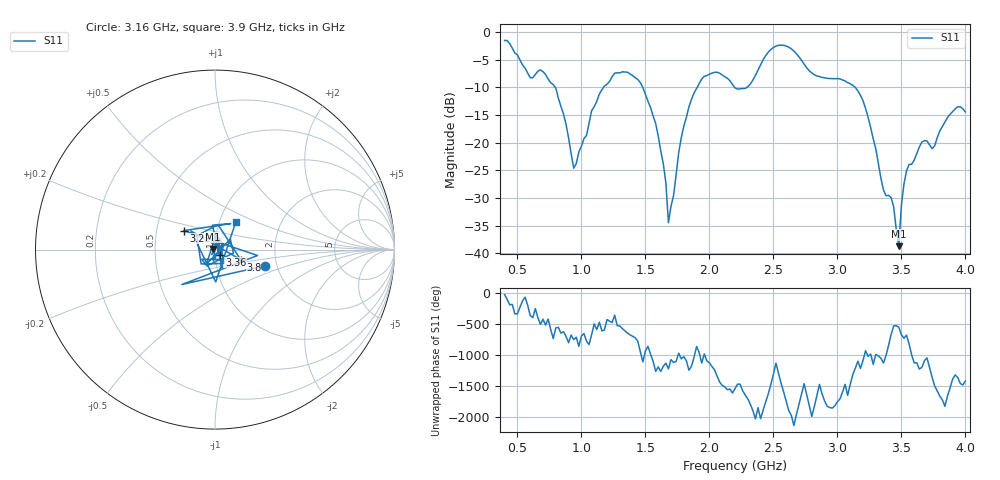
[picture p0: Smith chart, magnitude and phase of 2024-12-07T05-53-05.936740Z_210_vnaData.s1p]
!Created with skrf (http://scikit-rf.org).
# Hz S RI R 50.0
!freq ReS11 ImS11
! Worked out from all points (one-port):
!   181 points, 400 MHz to 4 GHz, reference 50 ohm
!   lowest |S11| = -38.7 dB at 3.48 GHz (marker M1), VSWR 1.02, Z = 48.9 + j0.31 ohm
!   |S11| at or under -10 dB: 795.8 MHz to 1.173 GHz (377.1 MHz wide, 38.3 % of centre); 1.48 GHz to 1.904 GHz (424.8 MHz wide, 25.1 % of centre); 3.14 GHz to end of sweep (the widest 3 of 4)
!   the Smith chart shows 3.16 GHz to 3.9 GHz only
!   S11 on the Smith chart (normalised r, x): 3.16 GHz: 1.73, -0.34; 3.22 GHz: 0.69, +0.15; 3.36 GHz: 1.05, -0.06; 3.84 GHz: 1.32, -0.15; 3.9 GHz: 1.20, +0.38
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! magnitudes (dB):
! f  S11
! 400 MHz  -1.5
! 600 MHz  -8.3
! 720 MHz  -7.7
! 860 MHz  -14.8
! 940 MHz  -24.6
! 1.14 GHz  -11.2
! 1.3 GHz  -7.4
! 1.44 GHz  -8.6
! 1.54 GHz  -13.6
! 1.64 GHz  -23.8
! 1.68 GHz  -34.4
! 1.76 GHz  -21.8
! 1.84 GHz  -13.5
! 1.94 GHz  -8.5
! 2.2 GHz  -10.1
! 2.5 GHz  -2.8
! 2.66 GHz  -3.4
! 3.1 GHz  -9.4
! 3.16 GHz  -10.6
! 3.22 GHz  -13.8
! 3.36 GHz  -28.5
! 3.44 GHz  -31.6
! 3.48 GHz  -38.7
! 3.52 GHz  -27.5
! 3.56 GHz  -23.9
! 3.84 GHz  -16.3
! 3.9 GHz  -14.4
! 4 GHz  -14.4
